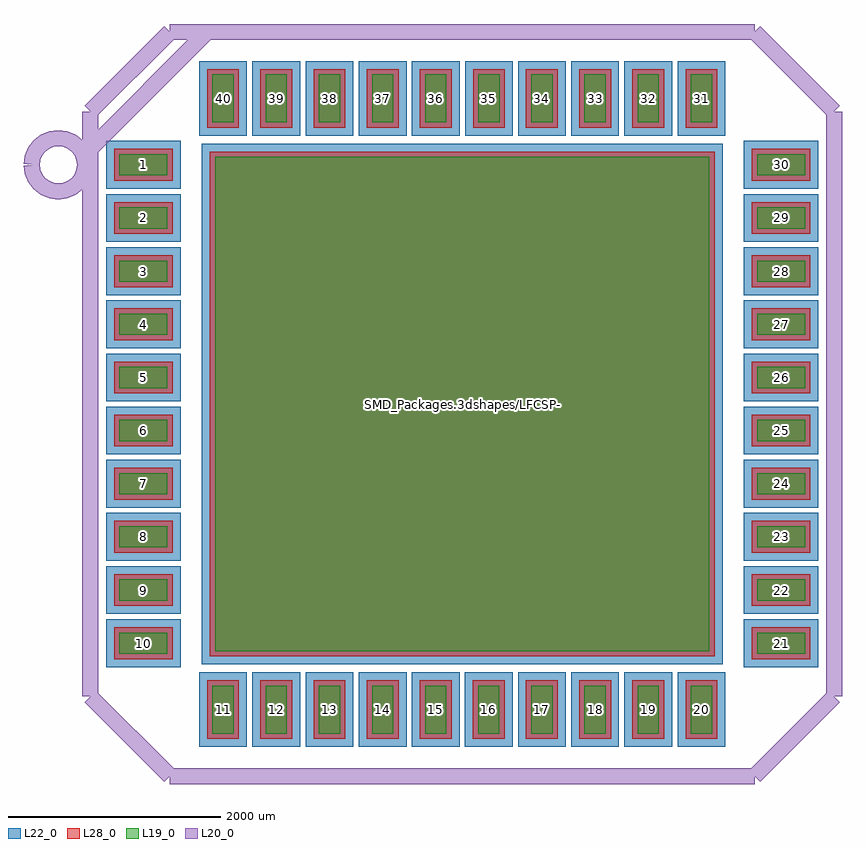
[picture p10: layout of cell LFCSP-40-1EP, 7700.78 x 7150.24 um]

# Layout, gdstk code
import gdstk
lib = gdstk.Library(unit=1e-6, precision=1e-09)
def R(c, l, rs):  # rectangles x0, y0, x1, y1
    for r in rs: c.add(gdstk.rectangle(r[:2], r[2:], *l))
def A(c, l, x, y, w, h, nx, ny, dx, dy):  # array of equal rectangles
    R(c, l, [(x+i*dx, y+j*dy, x+i*dx+w, y+j*dy+h) for i in range(nx) for j in range(ny)])
L19_0 = (19, 0)
L20_0 = (20, 0)
L22_0 = (22, 0)
L28_0 = (28, 0)

lfcsp_40_1ep = lib.new_cell('LFCSP-40-1EP')
A(lfcsp_40_1ep, L19_0, -2350.3, -3100.87, 199.72, 451.18, 5, 1, 500.38, 0)
A(lfcsp_40_1ep, L19_0, 149.06, -3100.87, 199.72, 451.18, 5, 1, 500.38, 0)
A(lfcsp_40_1ep, L19_0, -3225.33, -2350.3, 451.18, 199.72, 1, 5, 0, 500.38)
A(lfcsp_40_1ep, L19_0, 2774.15, -2350.3, 451.18, 199.72, 1, 5, 0, 500.38)
A(lfcsp_40_1ep, L19_0, -3225.33, 149.06, 451.18, 199.72, 1, 5, 0, 500.38)
A(lfcsp_40_1ep, L19_0, 2774.15, 149.06, 451.18, 199.72, 1, 5, 0, 500.38)
A(lfcsp_40_1ep, L19_0, -2350.3, 2649.69, 199.72, 451.18, 6, 1, 500.38, 0)
A(lfcsp_40_1ep, L19_0, 649.44, 2649.69, 199.72, 451.18, 4, 1, 500.38, 0)
R(lfcsp_40_1ep, L19_0, [(-2324.9,-2324.9,2324.9,2324.9)])
A(lfcsp_40_1ep, L22_0, -2475.3, -3225.87, 449.72, 701.18, 5, 1, 500.38, 0)
A(lfcsp_40_1ep, L22_0, 24.06, -3225.87, 449.72, 701.18, 5, 1, 500.38, 0)
A(lfcsp_40_1ep, L22_0, -3350.33, -2475.3, 701.18, 449.72, 1, 5, 0, 500.38)
A(lfcsp_40_1ep, L22_0, 2649.15, -2475.3, 701.18, 449.72, 1, 5, 0, 500.38)
A(lfcsp_40_1ep, L22_0, -3350.33, 24.06, 701.18, 449.72, 1, 5, 0, 500.38)
A(lfcsp_40_1ep, L22_0, 2649.15, 24.06, 701.18, 449.72, 1, 5, 0, 500.38)
A(lfcsp_40_1ep, L22_0, -2475.3, 2524.69, 449.72, 701.18, 6, 1, 500.38, 0)
A(lfcsp_40_1ep, L22_0, 524.44, 2524.69, 449.72, 701.18, 4, 1, 500.38, 0)
R(lfcsp_40_1ep, L22_0, [(-2449.9,-2449.9,2449.9,2449.9)])
A(lfcsp_40_1ep, L28_0, -2400.3, -3150.87, 299.72, 551.18, 5, 1, 500.38, 0)
A(lfcsp_40_1ep, L28_0, 99.06, -3150.87, 299.72, 551.18, 5, 1, 500.38, 0)
A(lfcsp_40_1ep, L28_0, -3275.33, -2400.3, 551.18, 299.72, 1, 5, 0, 500.38)
A(lfcsp_40_1ep, L28_0, 2724.15, -2400.3, 551.18, 299.72, 1, 5, 0, 500.38)
A(lfcsp_40_1ep, L28_0, -3275.33, 99.06, 551.18, 299.72, 1, 5, 0, 500.38)
A(lfcsp_40_1ep, L28_0, 2724.15, 99.06, 551.18, 299.72, 1, 5, 0, 500.38)
A(lfcsp_40_1ep, L28_0, -2400.3, 2599.69, 299.72, 551.18, 6, 1, 500.38, 0)
A(lfcsp_40_1ep, L28_0, 599.44, 2599.69, 299.72, 551.18, 4, 1, 500.38, 0)
R(lfcsp_40_1ep, L28_0, [(-2374.9,-2374.9,2374.9,2374.9)])
lfcsp_40_1ep.add(gdstk.FlexPath([(3500.12,2750.82),(3500.12,-2750.82)], 149.998, ends="flush", simple_path=True, layer=20, datatype=0))  # L20_0
lfcsp_40_1ep.add(gdstk.FlexPath([(2750.82,3500.12),(3500.12,2750.82)], 149.998, ends="flush", simple_path=True, layer=20, datatype=0))  # L20_0
lfcsp_40_1ep.add(gdstk.FlexPath([(2750.82,-3500.12),(3500.12,-2750.82)], 149.998, ends="flush", simple_path=True, layer=20, datatype=0))  # L20_0
lfcsp_40_1ep.add(gdstk.FlexPath([(-3500.12,2750.82),(-2750.82,3500.12)], 149.998, ends="flush", simple_path=True, layer=20, datatype=0))  # L20_0
lfcsp_40_1ep.add(gdstk.FlexPath([(-2750.82,3500.12),(2750.82,3500.12)], 149.998, ends="flush", simple_path=True, layer=20, datatype=0))  # L20_0
lfcsp_40_1ep.add(gdstk.FlexPath([(-2750.82,-3500.12),(-3500.12,-2750.82)], 149.998, ends="flush", simple_path=True, layer=20, datatype=0))  # L20_0
lfcsp_40_1ep.add(gdstk.FlexPath([(2750.82,-3500.12),(-2750.82,-3500.12)], 149.998, ends="flush", simple_path=True, layer=20, datatype=0))  # L20_0
lfcsp_40_1ep.add(gdstk.FlexPath([(-4051.3,2250.44),(-4042.732,2185.357),(-4017.611,2124.71),(-3977.649,2072.631),(-3925.57,2032.669),(-3864.923,2007.548),(-3799.84,1998.98),(-3734.757,2007.548),(-3674.11,2032.669),(-3622.031,2072.631),(-3582.069,2124.71),(-3556.948,2185.357),(-3548.38,2250.44),(-3556.948,2315.523),(-3582.069,2376.17),(-3622.031,2428.249),(-3674.11,2468.211),(-3734.757,2493.332),(-3799.84,2501.9),(-3864.923,2493.332),(-3925.57,2468.211),(-3977.649,2428.249),(-4017.611,2376.17),(-4042.732,2315.523),(-4051.3,2250.44)], 149.998, ends="flush", simple_path=True, layer=20, datatype=0))  # L20_0
lfcsp_40_1ep.add(gdstk.FlexPath([(-3500.12,-2750.82),(-3500.12,2750.82)], 149.998, ends="flush", simple_path=True, layer=20, datatype=0))  # L20_0
lfcsp_40_1ep.add(gdstk.FlexPath([(-3500.12,2400.3),(-2400.3,3500.12)], 149.998, ends="flush", simple_path=True, layer=20, datatype=0))  # L20_0
lfcsp_40_1ep.add(gdstk.Label('SMD_Packages.3dshapes/LFCSP-40-1EP.wrl', (0,0), layer=12, texttype=0))
lfcsp_40_1ep.add(gdstk.Label('41', (0,0), layer=28, texttype=0))
lfcsp_40_1ep.add(gdstk.Label('30', (2999.74,2250.44), layer=28, texttype=0))
lfcsp_40_1ep.add(gdstk.Label('29', (2999.74,1750.06), layer=28, texttype=0))
lfcsp_40_1ep.add(gdstk.Label('28', (2999.74,1249.68), layer=28, texttype=0))
lfcsp_40_1ep.add(gdstk.Label('27', (2999.74,749.3), layer=28, texttype=0))
lfcsp_40_1ep.add(gdstk.Label('26', (2999.74,248.92), layer=28, texttype=0))
lfcsp_40_1ep.add(gdstk.Label('25', (2999.74,-248.92), layer=28, texttype=0))
lfcsp_40_1ep.add(gdstk.Label('24', (2999.74,-749.3), layer=28, texttype=0))
lfcsp_40_1ep.add(gdstk.Label('23', (2999.74,-1249.68), layer=28, texttype=0))
lfcsp_40_1ep.add(gdstk.Label('22', (2999.74,-1750.06), layer=28, texttype=0))
lfcsp_40_1ep.add(gdstk.Label('21', (2999.74,-2250.44), layer=28, texttype=0))
lfcsp_40_1ep.add(gdstk.Label('20', (2250.44,-2875.28), layer=28, texttype=0))
lfcsp_40_1ep.add(gdstk.Label('19', (1750.06,-2875.28), layer=28, texttype=0))
lfcsp_40_1ep.add(gdstk.Label('18', (1249.68,-2875.28), layer=28, texttype=0))
lfcsp_40_1ep.add(gdstk.Label('17', (749.3,-2875.28), layer=28, texttype=0))
lfcsp_40_1ep.add(gdstk.Label('16', (248.92,-2875.28), layer=28, texttype=0))
lfcsp_40_1ep.add(gdstk.Label('15', (-248.92,-2875.28), layer=28, texttype=0))
lfcsp_40_1ep.add(gdstk.Label('14', (-749.3,-2875.28), layer=28, texttype=0))
lfcsp_40_1ep.add(gdstk.Label('13', (-1249.68,-2875.28), layer=28, texttype=0))
lfcsp_40_1ep.add(gdstk.Label('12', (-1750.06,-2875.28), layer=28, texttype=0))
lfcsp_40_1ep.add(gdstk.Label('11', (-2250.44,-2875.28), layer=28, texttype=0))
lfcsp_40_1ep.add(gdstk.Label('10', (-2999.74,-2250.44), layer=28, texttype=0))
lfcsp_40_1ep.add(gdstk.Label('9', (-2999.74,-1750.06), layer=28, texttype=0))
lfcsp_40_1ep.add(gdstk.Label('8', (-2999.74,-1249.68), layer=28, texttype=0))
lfcsp_40_1ep.add(gdstk.Label('7', (-2999.74,-749.3), layer=28, texttype=0))
lfcsp_40_1ep.add(gdstk.Label('6', (-2999.74,-248.92), layer=28, texttype=0))
lfcsp_40_1ep.add(gdstk.Label('5', (-2999.74,248.92), layer=28, texttype=0))
lfcsp_40_1ep.add(gdstk.Label('4', (-2999.74,749.3), layer=28, texttype=0))
lfcsp_40_1ep.add(gdstk.Label('3', (-2999.74,1249.68), layer=28, texttype=0))
lfcsp_40_1ep.add(gdstk.Label('2', (-2999.74,1750.06), layer=28, texttype=0))
lfcsp_40_1ep.add(gdstk.Label('1', (-2999.74,2250.44), layer=28, texttype=0))
lfcsp_40_1ep.add(gdstk.Label('40', (-2250.44,2875.28), layer=28, texttype=0))
lfcsp_40_1ep.add(gdstk.Label('39', (-1750.06,2875.28), layer=28, texttype=0))
lfcsp_40_1ep.add(gdstk.Label('38', (-1249.68,2875.28), layer=28, texttype=0))
lfcsp_40_1ep.add(gdstk.Label('37', (-749.3,2875.28), layer=28, texttype=0))
lfcsp_40_1ep.add(gdstk.Label('36', (-248.92,2875.28), layer=28, texttype=0))
lfcsp_40_1ep.add(gdstk.Label('35', (251.46,2875.28), layer=28, texttype=0))
lfcsp_40_1ep.add(gdstk.Label('34', (749.3,2875.28), layer=28, texttype=0))
lfcsp_40_1ep.add(gdstk.Label('33', (1249.68,2875.28), layer=28, texttype=0))
lfcsp_40_1ep.add(gdstk.Label('32', (1750.06,2875.28), layer=28, texttype=0))
lfcsp_40_1ep.add(gdstk.Label('31', (2250.44,2875.28), layer=28, texttype=0))
lfcsp_40_1ep.add(gdstk.Label('type', (0,-4000.5), layer=9, texttype=0))
lfcsp_40_1ep.add(gdstk.Label('devicename', (0,4000.5), layer=9, texttype=0))

lib.write_gds('LFCSP-40-1EP.gds')
